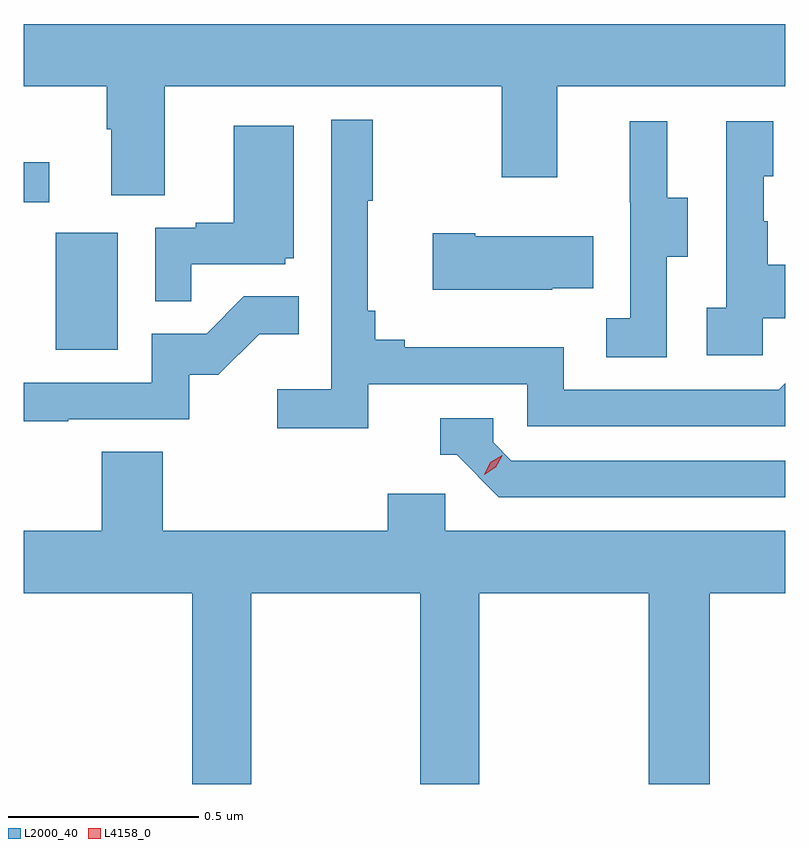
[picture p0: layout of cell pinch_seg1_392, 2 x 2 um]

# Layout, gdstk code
import gdstk
lib = gdstk.Library(unit=1e-6, precision=1e-09)
def R(c, l, rs):  # rectangles x0, y0, x1, y1
    for r in rs: c.add(gdstk.rectangle(r[:2], r[2:], *l))
def P(c, l, *ps):  # polygons
    for p in ps: c.add(gdstk.Polygon(p, *l))
L2000_40 = (2000, 40)
L4158_0 = (4158, 0)

pinch_seg1_392 = lib.new_cell('pinch_seg1_392')
R(pinch_seg1_392, L2000_40, [(993.824,533.724,993.988,534.031), (993.741,534.111,993.808,534.217)])
P(pinch_seg1_392, L2000_40, [(994.111,534.416),(994.996,534.416),(994.996,534.177),(995.143,534.177),(995.143,534.416),(995.741,534.416),(995.741,534.58),(993.741,534.58),(993.741,534.416),(993.959,534.416),(993.959,534.304),(993.971,534.304),(993.971,534.13),(994.111,534.13)],
  [(994.646,533.634),(995.064,533.634),(995.064,533.523),(995.741,533.523),(995.741,533.636),(995.724,533.619),(995.16,533.619),(995.16,533.731),(994.741,533.731),(994.741,533.75),(994.664,533.75),(994.664,533.827),(994.645,533.827),(994.645,534.115),(994.657,534.115),(994.657,534.328),(994.548,534.328),(994.548,533.62),(994.407,533.62),(994.407,533.518),(994.646,533.518)],
  [(995.682,533.807),(995.741,533.807),(995.741,533.947),(995.695,533.947),(995.695,534.062),(995.685,534.062),(995.685,534.18),(995.71,534.18),(995.71,534.325),(995.586,534.325),(995.586,533.834),(995.535,533.834),(995.535,533.709),(995.682,533.709)],
  [(995.43,533.968),(995.485,533.968),(995.485,534.123),(995.431,534.123),(995.431,534.325),(995.333,534.325),(995.333,534.111),(995.334,534.111),(995.334,533.807),(995.271,533.807),(995.271,533.704),(995.43,533.704)],
  [(994.181,533.949),(994.428,533.949),(994.428,533.964),(994.45,533.964),(994.45,534.313),(994.292,534.313),(994.292,534.058),(994.193,534.058),(994.193,534.045),(994.086,534.045),(994.086,533.851),(994.181,533.851)],
  [(995.129,533.885),(995.237,533.885),(995.237,534.022),(994.927,534.022),(994.927,534.03),(994.815,534.03),(994.815,533.882),(995.129,533.882)],
  [(993.857,533.541),(994.176,533.541),(994.176,533.658),(994.252,533.658),(994.359,533.765),(994.463,533.765),(994.463,533.864),(994.319,533.864),(994.221,533.766),(994.077,533.766),(994.077,533.637),(993.741,533.637),(993.741,533.536),(993.857,533.536)],
  [(995.741,533.433),(995.022,533.433),(994.974,533.481),(994.974,533.544),(994.835,533.544),(994.835,533.448),(994.878,533.448),(994.989,533.337),(995.741,533.337)],
  [(994.338,533.084),(994.783,533.084),(994.783,532.583),(994.938,532.583),(994.938,533.084),(995.383,533.084),(995.383,532.583),(995.543,532.583),(995.543,533.084),(995.741,533.084),(995.741,533.248),(994.848,533.248),(994.848,533.346),(994.697,533.346),(994.697,533.248),(994.106,533.248),(994.106,533.456),(993.946,533.456),(993.946,533.248),(993.741,533.248),(993.741,533.084),(994.183,533.084),(994.183,532.583),(994.338,532.583)])
P(pinch_seg1_392, L4158_0, [(994.95,533.396),(994.95,533.396),(994.966,533.428),(994.998,533.447),(994.998,533.447),(994.998,533.446),(994.981,533.415),(994.95,533.396)])

lib.write_gds('pinch_seg1_392.gds')
